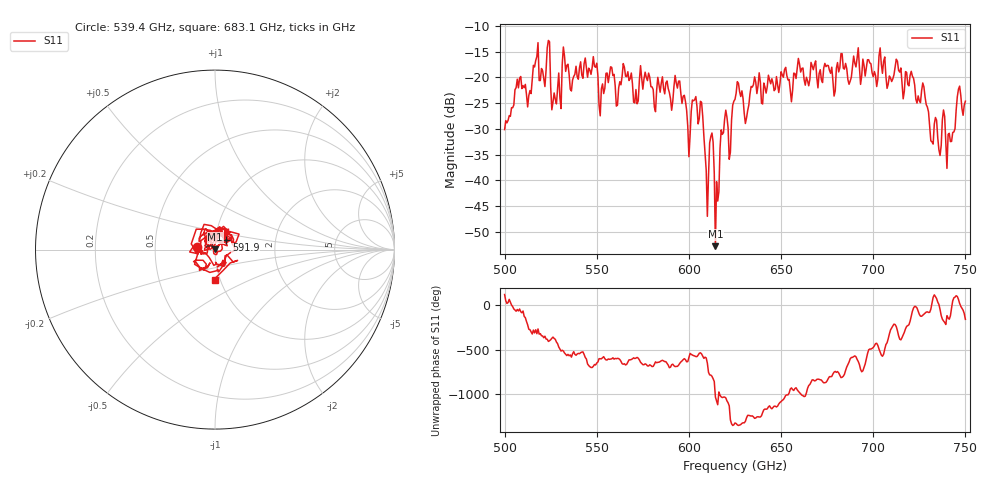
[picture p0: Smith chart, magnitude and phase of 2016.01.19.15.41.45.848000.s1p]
!Created with skrf (http://scikit-rf.org).
# GHz S RI R 50.0
!freq ReS11 ImS11
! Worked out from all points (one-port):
!   401 points, 500 GHz to 750 GHz, reference 50 ohm
!   lowest |S11| = -52.8 dB at 614.4 GHz (marker M1), VSWR 1.00, Z = 50.2 + j0.172 ohm
!   |S11| at or under -10 dB: start of sweep to end of sweep
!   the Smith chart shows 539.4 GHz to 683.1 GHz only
!   S11 on the Smith chart (normalised r, x): 539.4 GHz: 0.82, +0.03; 591.9 GHz: 1.13, +0.12; 683.1 GHz: 0.95, -0.33
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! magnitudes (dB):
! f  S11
! 500 GHz  -30.1
! 507.5 GHz  -22.0
! 513.1 GHz  -23.5
! 516.9 GHz  -16.7
! 523.8 GHz  -12.8
! 526.9 GHz  -23.0
! 531.2 GHz  -17.5
! 539.4 GHz  -19.8
! 562.5 GHz  -20.8
! 591.9 GHz  -21.8
! 593.8 GHz  -22.1
! 600 GHz  -35.4
! 602.5 GHz  -24.5
! 606.9 GHz  -24.9
! 609.4 GHz  -38.0
! 612.5 GHz  -30.8
! 614.4 GHz  -52.8
! 615.6 GHz  -44.1
! 618.8 GHz  -30.7
! 622.5 GHz  -34.6
! 625 GHz  -24.3
! 631.2 GHz  -27.9
! 656.2 GHz  -22.5
! 683.1 GHz  -15.4
! 687.5 GHz  -20.7
! 718.8 GHz  -21.4
! 735.6 GHz  -34.1
! 750 GHz  -24.6
